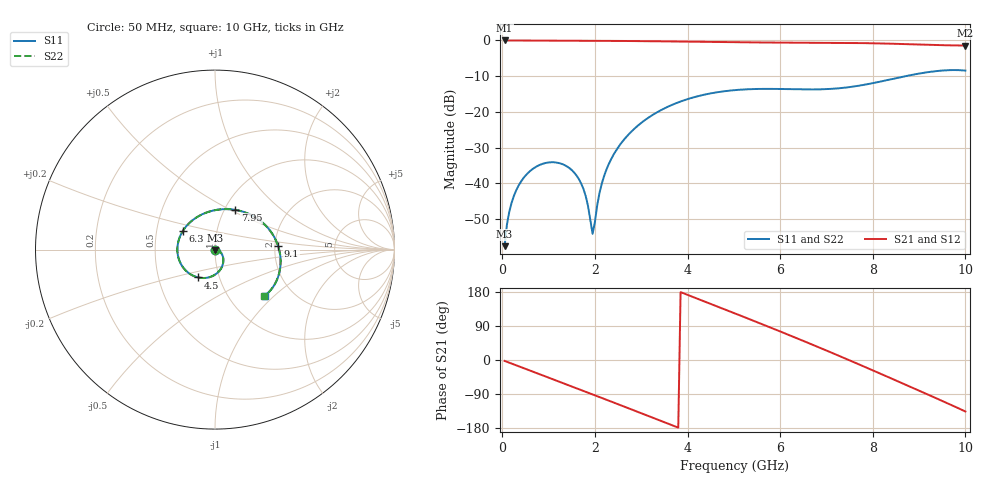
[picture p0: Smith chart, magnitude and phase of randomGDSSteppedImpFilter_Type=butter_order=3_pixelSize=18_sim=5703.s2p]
! freq	dB(S11)	phase(S11)	dB(S12)	phase(S12)
!  dB(S21)	phase(S21)	dB(S22)	phase(S22)
!S-par simulation data
#  GHz  S  DB  R 50
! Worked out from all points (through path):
!   200 points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, 50 MHz to 10 GHz, reference 50 ohm
!   highest |S21| = 0.00 dB at 50 MHz (marker M1); lowest = -1.4 dB at 10 GHz (marker M2)
!   group delay of S21, straight-line fit = 137 ps
!   lowest |S11| = -57.6 dB at 50 MHz (marker M3), VSWR 1.00, Z = 50 - j0.131 ohm
!   |S11| at or under -10 dB: start of sweep to 8.709 GHz
!   |S22| runs from -57.6 to -8.3 dB; largest |S21 - S12| = 0
!   S11 on the Smith chart (normalised r, x): 50 MHz: 1.00, -0.00; 4.5 GHz: 0.79, -0.25; 6.3 GHz: 0.68, +0.15; 7.95 GHz: 1.12, +0.53; 9.1 GHz: 2.08, +0.10; 10 GHz: 1.45, -0.87
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0.05  -57.63 -88.9  -0.00 -2.4  -0.00 -2.4  -57.63 -89.0
0.15  -48.03 -94.7  -0.01 -7.0  -0.01 -7.0  -48.03 -94.8
0.25  -43.57 -99.7  -0.02 -11.7  -0.02 -11.7  -43.57 -99.7
0.65  -36.06 -120.5  -0.03 -30.3  -0.03 -30.3  -36.06 -120.6
1.3  -34.66 -154.2  -0.07 -60.5  -0.07 -60.5  -34.65 -154.7
1.75  -41.52 176.4  -0.09 -81.5  -0.09 -81.5  -41.46 174.8
1.95  -54.17 95.7  -0.10 -90.8  -0.10 -90.8  -53.02 94.9
2.15  -40.03 1.4  -0.11 -100.2  -0.11 -100.2  -39.97 3.3
2.4  -32.07 -17.3  -0.13 -112.0  -0.13 -112.0  -32.05 -16.4
2.8  -25.37 -38.7  -0.17 -130.9  -0.17 -130.9  -25.36 -38.2
3.4  -19.71 -68.2  -0.25 -159.4  -0.25 -159.4  -19.71 -67.9
3.95  -16.65 -94.8  -0.34 174.4  -0.34 174.4  -16.65 -94.5
4.5  -14.83 -121.2  -0.44 148.1  -0.44 148.1  -14.83 -121.0
5.05  -13.88 -147.7  -0.52 121.7  -0.52 121.7  -13.88 -147.5
5.7  -13.56 -179.6  -0.58 90.1  -0.58 90.1  -13.56 -179.5
6.3  -13.68 150.0  -0.61 60.5  -0.61 60.5  -13.68 150.1
6.7  -13.73 129.2  -0.62 40.3  -0.62 40.3  -13.73 129.2
7.35  -13.30 94.8  -0.68 6.9  -0.68 6.9  -13.29 94.7
7.95  -12.09 63.1  -0.78 -24.6  -0.78 -24.6  -12.09 62.9
8.35  -11.00 42.2  -0.90 -46.0  -0.90 -46.0  -11.00 41.9
9.1  -9.06 3.4  -1.18 -86.3  -1.18 -86.3  -9.06 3.1
10  -8.45 -42.9  -1.43 -135.9  -1.43 -135.9  -8.46 -43.4
